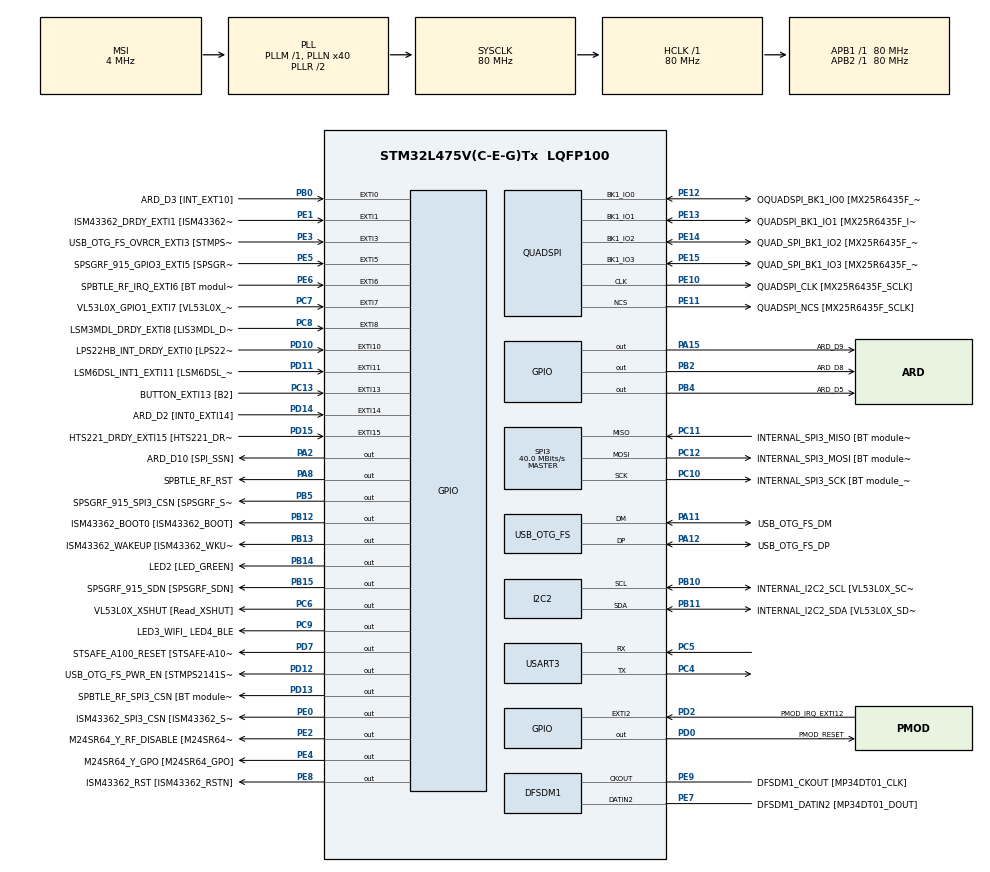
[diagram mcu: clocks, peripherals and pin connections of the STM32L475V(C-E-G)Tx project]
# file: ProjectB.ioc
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Mcu.Family=STM32L4
Mcu.Name=STM32L475V(C-E-G)Tx
Mcu.Package=LQFP100
NVIC.EXTI15_10_IRQn=true\:0\:0\:false\:false\:true\:true\:true\:true
NVIC.EXTI9_5_IRQn=true\:0\:0\:false\:false\:true\:true\:true\:true
NVIC.PriorityGroup=NVIC_PRIORITYGROUP_4
NVIC.USART3_IRQn=true\:0\:0\:false\:false\:true\:true\:true\:true
PA0.GPIO_Label=ARD_D1 [UART4_TX]
PA0.Signal=UART4_TX
PA1.GPIO_Label=ARD_D0 [UART4_RX]
PA1.Signal=UART4_RX
PA10.GPIO_Label=USB_OTG_FS_ID
PA10.Signal=USB_OTG_FS_ID
PA11.GPIO_Label=USB_OTG_FS_DM
PA11.Mode=Device_Only
PA11.Signal=USB_OTG_FS_DM
PA12.GPIO_Label=USB_OTG_FS_DP
PA12.Mode=Device_Only
PA12.Signal=USB_OTG_FS_DP
PA13\ (JTMS-SWDIO).GPIO_Label=SYS_JTMS_SWDIO
PA13\ (JTMS-SWDIO).Mode=Serial_Wire
PA13\ (JTMS-SWDIO).Signal=SYS_JTMS-SWDIO
PA14\ (JTCK-SWCLK).GPIO_Label=SYS_JTCK_SWCLK
PA14\ (JTCK-SWCLK).Mode=Serial_Wire
PA14\ (JTCK-SWCLK).Signal=SYS_JTCK-SWCLK
PA15\ (JTDI).GPIO_Label=ARD_D9
PA15\ (JTDI).Signal=GPIO_Output
PA2.GPIO_Label=ARD_D10 [SPI_SSN]
PA2.Signal=GPIO_Output
PA3.GPIO_Label=ARD_D4
PA3.Signal=S_TIM2_CH4
PA4.GPIO_Label=ARD_D7
PA4.Signal=ADCx_IN9
PA5.GPIO_Label=ARD_D13 [SPI1_SCK]
PA5.Signal=SPI1_SCK
PA6.GPIO_Label=ARD_D12 [SPI1_MISO]
PA6.Signal=SPI1_MISO
PA7.GPIO_Label=ARD_D11 [SPI1_MOSI]
PA7.Signal=SPI1_MOSI
PA8.GPIO_Label=SPBTLE_RF_RST
PA8.Signal=GPIO_Output
PA9.GPIO_Label=USB_OTG_FS_VBUS [STMPS2141STR_OUT]
PA9.Signal=USB_OTG_FS_VBUS
PB0.GPIO_Label=ARD_D3 [INT_EXT10]
PB0.Signal=GPXTI0
PB1.GPIO_Label=ARD_D6 [ADC1_IN6]
PB1.Signal=ADCx_IN16
PB10.GPIO_Label=INTERNAL_I2C2_SCL [VL53L0X_SCL]
PB10.GPIO_Pu=GPIO_PULLUP
PB10.Mode=I2C
PB10.Signal=I2C2_SCL
PB11.GPIO_Label=INTERNAL_I2C2_SDA [VL53L0X_SDA]
PB11.GPIO_Pu=GPIO_PULLUP
PB11.Mode=I2C
PB11.Signal=I2C2_SDA
PB12.GPIO_Label=ISM43362_BOOT0 [ISM43362_BOOT]
PB12.Signal=GPIO_Output
PB13.GPIO_Label=ISM43362_WAKEUP [ISM43362_WKUP]
PB13.Signal=GPIO_Output
PB14.GPIO_Label=LED2 [LED_GREEN]
PB14.Signal=GPIO_Output
PB15.GPIO_Label=SPSGRF_915_SDN [SPSGRF_SDN]
PB15.Signal=GPIO_Output
PB2.GPIO_Label=ARD_D8
PB2.Signal=GPIO_Output
PB3\ (JTDO-TRACESWO).GPIO_Label=SYS_JTD0_SWO
PB3\ (JTDO-TRACESWO).Signal=SYS_JTDO-SWO
PB4\ (NJTRST).GPIO_Label=ARD_D5
PB4\ (NJTRST).Signal=GPIO_Output
PB5.GPIO_Label=SPSGRF_915_SPI3_CSN [SPSGRF_SPI_CS]
PB5.PinState=GPIO_PIN_SET
PB5.Signal=GPIO_Output
PB6.Signal=USART1_TX
PB8.GPIO_Label=ARD_D15 [I2C1_SCL]
PB8.Signal=I2C1_SCL
PB9.GPIO_Label=ARD_D14 [I2C1_SDA]
PB9.Signal=I2C1_SDA
PC0.GPIO_Label=ARD_A5 [ADC]
PC0.Signal=ADCx_IN1
PC1.GPIO_Label=ARD_A4 [ADC]
PC1.Signal=ADCx_IN2
PC10.GPIO_Label=INTERNAL_SPI3_SCK [BT module_SPI_SCLK] [ISM43362_SCK]
PC10.Mode=Full_Duplex_Master
PC10.Signal=SPI3_SCK
PC11.GPIO_Label=INTERNAL_SPI3_MISO [BT module_SPI_MISO] [ISM43362_MISO]
PC11.Mode=Full_Duplex_Master
PC11.Signal=SPI3_MISO
PC12.GPIO_Label=INTERNAL_SPI3_MOSI [BT module_SPI_MOSI] [ISM43362_MOSI]
PC12.Mode=Full_Duplex_Master
PC12.Signal=SPI3_MOSI
PC13.GPIO_Label=BUTTON_EXTI13 [B2]
PC13.GPIO_ModeDefaultEXTI=GPIO_MODE_IT_FALLING
PC13.Signal=GPXTI13
PC14-OSC32_IN\ (PC14).Mode=LSE-External-Oscillator
PC14-OSC32_IN\ (PC14).Signal=RCC_OSC32_IN
PC15-OSC32_OUT\ (PC15).Mode=LSE-External-Oscillator
PC15-OSC32_OUT\ (PC15).Signal=RCC_OSC32_OUT
PC2.GPIO_Label=ARD_A3 [ADC]
PC2.Signal=ADCx_IN3
PC3.GPIO_Label=ARD_A2 [ADC]
PC3.Signal=ADCx_IN4
PC4.Mode=Asynchronous
PC4.Signal=USART3_TX
PC5.Mode=Asynchronous
PC5.Signal=USART3_RX
PC6.GPIO_Label=VL53L0X_XSHUT [Read_XSHUT]
PC6.Signal=GPIO_Output
PC7.GPIO_Label=VL53L0X_GPIO1_EXTI7 [VL53L0X_GPIO1]
PC7.Signal=GPXTI7
PC8.GPIO_Label=LSM3MDL_DRDY_EXTI8 [LIS3MDL_DRDY]
PC8.Signal=GPXTI8
PC9.GPIO_Label=LED3_WIFI_ LED4_BLE
PC9.Signal=GPIO_Output
PD0.GPIO_Label=PMOD_RESET
PD0.Signal=GPIO_Output
PD1.GPIO_Label=PMOD_SPI2_SCK
PD1.Signal=SPI2_SCK
PD10.GPIO_Label=LPS22HB_INT_DRDY_EXTI0 [LPS22HB_INT_DRDY] 
PD10.Signal=GPXTI10
PD11.GPIO_Label=LSM6DSL_INT1_EXTI11 [LSM6DSL_INT1]
PD11.Signal=GPXTI11
PD12.GPIO_Label=USB_OTG_FS_PWR_EN [STMPS2141STR_EN]
PD12.Signal=GPIO_Output
PD13.GPIO_Label=SPBTLE_RF_SPI3_CSN [BT module_SPI_CS]
PD13.PinState=GPIO_PIN_SET
PD13.Signal=GPIO_Output
PD14.GPIO_Label=ARD_D2 [INT0_EXTI14]
PD14.Signal=GPXTI14
PD15.GPIO_Label=HTS221_DRDY_EXTI15 [HTS221_DRDY]
PD15.Signal=GPXTI15
PD2.GPIO_Label=PMOD_IRQ_EXTI12
PD2.Signal=GPXTI2
PD3.GPIO_Label=PMOD_UART2_CTS
PD3.Signal=USART2_CTS
PD4.GPIO_Label=PMOD_UART2_RTS
PD4.Signal=USART2_RTS
PD5.GPIO_Label=PMOD_UART2_TX
PD5.Signal=USART2_TX
PD6.GPIO_Label=PMOD_UART2_RX
PD6.Signal=USART2_RX
PD7.GPIO_Label=STSAFE_A100_RESET [STSAFE-A100_RESET]
PD7.Signal=GPIO_Output
PE0.GPIO_Label=ISM43362_SPI3_CSN [ISM43362_SSN]
PE0.PinState=GPIO_PIN_SET
PE0.Signal=GPIO_Output
PE1.GPIO_Label=ISM43362_DRDY_EXTI1 [ISM43362_DATARDY]
PE1.Signal=GPXTI1
PE10.GPIO_Label=QUADSPI_CLK [MX25R6435F_SCLK]
PE10.Mode=Single Bank
PE10.Signal=QUADSPI_CLK
PE11.GPIO_Label=QUADSPI_NCS [MX25R6435F_SCLK]
PE11.Mode=Single Bank
PE11.Signal=QUADSPI_NCS
PE12.GPIO_Label=OQUADSPI_BK1_IO0 [MX25R6435F_IO0]
PE12.Mode=Single Bank
PE12.Signal=QUADSPI_BK1_IO0
PE13.GPIO_Label=QUADSPI_BK1_IO1 [MX25R6435F_IO1]
PE13.Mode=Single Bank
PE13.Signal=QUADSPI_BK1_IO1
PE14.GPIO_Label=QUAD_SPI_BK1_IO2 [MX25R6435F_IO2]
PE14.Mode=Single Bank
PE14.Signal=QUADSPI_BK1_IO2
PE15.GPIO_Label=QUAD_SPI_BK1_IO3 [MX25R6435F_IO3]
PE15.Mode=Single Bank
PE15.Signal=QUADSPI_BK1_IO3
PE2.GPIO_Label=M24SR64_Y_RF_DISABLE [M24SR64_RFDIS]
PE2.Signal=GPIO_Output
PE3.GPIO_Label=USB_OTG_FS_OVRCR_EXTI3 [STMPS2141STR_FAULT]
PE3.Signal=GPXTI3
PE4.GPIO_Label=M24SR64_Y_GPO [M24SR64_GPO]
PE4.Signal=GPIO_Output
PE5.GPIO_Label=SPSGRF_915_GPIO3_EXTI5 [SPSGRF_GPIO_3]
PE5.Signal=GPXTI5
PE6.GPIO_Label=SPBTLE_RF_IRQ_EXTI6 [BT module_SPI_IRQ]
PE6.Signal=GPXTI6
PE7.GPIO_Label=DFSDM1_DATIN2 [MP34DT01_DOUT]
PE7.Signal=S_DATAIN2DFSDM1
PE8.GPIO_Label=ISM43362_RST [ISM43362_RSTN]
PE8.Signal=GPIO_Output
PE9.GPIO_Label=DFSDM1_CKOUT [MP34DT01_CLK]
PE9.Signal=S_CKOUTDFSDM1
ProjectManager.HeapSize=0x200
ProjectManager.StackSize=0x400
ProjectManager.TargetToolchain=STM32CubeIDE
QUADSPI.ClockPrescaler=2
QUADSPI.FifoThreshold=4
QUADSPI.FlashSize=23
QUADSPI.SampleShifting=QSPI_SAMPLE_SHIFTING_HALFCYCLE
RCC.ADCFreq_Value=48000000
RCC.AHBFreq_Value=80000000
RCC.APB1Freq_Value=80000000
RCC.APB1TimFreq_Value=80000000
RCC.APB2Freq_Value=80000000
RCC.APB2TimFreq_Value=80000000
RCC.CortexFreq_Value=80000000
RCC.HCLKFreq_Value=80000000
RCC.HSE_VALUE=8000000
RCC.HSI_VALUE=16000000
RCC.MSI_VALUE=4000000
RCC.PLLN=40
RCC.PLLSAI1N=24
RCC.SYSCLKFreq_VALUE=80000000
RCC.SYSCLKSource=RCC_SYSCLKSOURCE_PLLCLK
RCC.USBFreq_Value=48000000
RCC.VCOOutputFreq_Value=160000000
SH.ADCx_IN1.0=ADC1_IN1
SH.ADCx_IN16.0=ADC1_IN16
SH.ADCx_IN2.0=ADC1_IN2
SH.ADCx_IN3.0=ADC1_IN3
SH.ADCx_IN4.0=ADC1_IN4
SH.ADCx_IN9.0=ADC1_IN9
SH.S_CKOUTDFSDM1.0=DFSDM1_CKOUT,CKOUT
SH.S_CKOUTDFSDM1.1=DFSDM1_CKOUT,PDM_SPI_Input_from_ch12_and_Internal_Clock
SH.S_DATAIN2DFSDM1.0=DFSDM1_DATIN2,PDM_SPI_Input_from_ch12_and_Internal_Clock
SH.S_TIM2_CH4.0=TIM2_CH4
SPI3.CalculateBaudRate=40.0 MBits/s
SPI3.Direction=SPI_DIRECTION_2LINES
SPI3.Mode=SPI_MODE_MASTER
SPI3.VirtualType=VM_MASTER
USART3.VirtualMode-Asynchronous=VM_ASYNC
USB_OTG_FS.VirtualMode=Device_Only
board=B-L475E-IOT01A1

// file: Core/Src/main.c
/* USER CODE BEGIN Header */
/**
  ******************************************************************************
  * @file           : main.c
  * @brief          : Main program body
  ******************************************************************************
  * @attention
  *
  * Copyright (c) 2026 STMicroelectronics.
  * All rights reserved.
  *
  * This software is licensed under terms that can be found in the LICENSE file
  * in the root directory of this software component.
  * If no LICENSE file comes with this software, it is provided AS-IS.
  *
  ******************************************************************************
  */
/* USER CODE END Header */
#include "main.h"

DFSDM_Channel_HandleTypeDef hdfsdm1_channel1;

I2C_HandleTypeDef hi2c2;

QSPI_HandleTypeDef hqspi;

SPI_HandleTypeDef hspi3;

UART_HandleTypeDef huart3;

PCD_HandleTypeDef hpcd_USB_OTG_FS;

/* USER CODE BEGIN PV */
uint8_t rx_byte; // byte buf
uint8_t line_buf[128];
uint8_t line_len = 0; // num chars in line buf
/* USER CODE END PV */

void SystemClock_Config(void);
static void MX_GPIO_Init(void);
static void MX_DFSDM1_Init(void);
static void MX_I2C2_Init(void);
static void MX_QUADSPI_Init(void);
static void MX_SPI3_Init(void);
static void MX_USART3_UART_Init(void);
static void MX_USB_OTG_FS_PCD_Init(void);

int main(void)
{

  /* MCU Configuration--------------------------------------------------------*/

  /* Reset of all peripherals, Initializes the Flash interface and the Systick. */
  HAL_Init();

  /* Configure the system clock */
  SystemClock_Config();

  /* Initialize all configured peripherals */
  MX_GPIO_Init();
  MX_DFSDM1_Init();
  MX_I2C2_Init();
  MX_QUADSPI_Init();
  MX_SPI3_Init();
  MX_USART3_UART_Init();
  MX_USB_OTG_FS_PCD_Init();
  /* USER CODE BEGIN 2 */
  uint8_t msg[] = "UART ready\r\n";
  HAL_UART_Transmit(&huart3, msg, sizeof(msg) - 1, HAL_MAX_DELAY);
  HAL_UART_Receive_IT(&huart3, &rx_byte, 1); // arm for first byte
  /* USER CODE END 2 */

  /* Infinite loop */
  while (1)
  {

  }
}

void SystemClock_Config(void)
{
  RCC_OscInitTypeDef RCC_OscInitStruct = {0};
  RCC_ClkInitTypeDef RCC_ClkInitStruct = {0};

  /** Configure the main internal regulator output voltage
  */
  if (HAL_PWREx_ControlVoltageScaling(PWR_REGULATOR_VOLTAGE_SCALE1) != HAL_OK)
  {
    Error_Handler();
  }

  /** Configure LSE Drive Capability
  */
  HAL_PWR_EnableBkUpAccess();
  __HAL_RCC_LSEDRIVE_CONFIG(RCC_LSEDRIVE_LOW);

  /** Initializes the RCC Oscillators according to the specified parameters
  * in the RCC_OscInitTypeDef structure.
  */
  RCC_OscInitStruct.OscillatorType = RCC_OSCILLATORTYPE_LSE|RCC_OSCILLATORTYPE_MSI;
  RCC_OscInitStruct.LSEState = RCC_LSE_ON;
  RCC_OscInitStruct.MSIState = RCC_MSI_ON;
  RCC_OscInitStruct.MSICalibrationValue = 0;
  RCC_OscInitStruct.MSIClockRange = RCC_MSIRANGE_6;
  RCC_OscInitStruct.PLL.PLLState = RCC_PLL_ON;
  RCC_OscInitStruct.PLL.PLLSource = RCC_PLLSOURCE_MSI;
  RCC_OscInitStruct.PLL.PLLM = 1;
  RCC_OscInitStruct.PLL.PLLN = 40;
  RCC_OscInitStruct.PLL.PLLP = RCC_PLLP_DIV7;
  RCC_OscInitStruct.PLL.PLLQ = RCC_PLLQ_DIV2;
  RCC_OscInitStruct.PLL.PLLR = RCC_PLLR_DIV2;
  if (HAL_RCC_OscConfig(&RCC_OscInitStruct) != HAL_OK)
  {
    Error_Handler();
  }

  /** Initializes the CPU, AHB and APB buses clocks
  */
  RCC_ClkInitStruct.ClockType = RCC_CLOCKTYPE_HCLK|RCC_CLOCKTYPE_SYSCLK
                              |RCC_CLOCKTYPE_PCLK1|RCC_CLOCKTYPE_PCLK2;
  RCC_ClkInitStruct.SYSCLKSource = RCC_SYSCLKSOURCE_PLLCLK;
  RCC_ClkInitStruct.AHBCLKDivider = RCC_SYSCLK_DIV1;
  RCC_ClkInitStruct.APB1CLKDivider = RCC_HCLK_DIV1;
  RCC_ClkInitStruct.APB2CLKDivider = RCC_HCLK_DIV1;

  if (HAL_RCC_ClockConfig(&RCC_ClkInitStruct, FLASH_LATENCY_4) != HAL_OK)
  {
    Error_Handler();
  }

  /** Enable MSI Auto calibration
  */
  HAL_RCCEx_EnableMSIPLLMode();
}

static void MX_DFSDM1_Init(void)
{

  hdfsdm1_channel1.Instance = DFSDM1_Channel1;
  hdfsdm1_channel1.Init.OutputClock.Activation = ENABLE;
  hdfsdm1_channel1.Init.OutputClock.Selection = DFSDM_CHANNEL_OUTPUT_CLOCK_SYSTEM;
  hdfsdm1_channel1.Init.OutputClock.Divider = 2;
  hdfsdm1_channel1.Init.Input.Multiplexer = DFSDM_CHANNEL_EXTERNAL_INPUTS;
  hdfsdm1_channel1.Init.Input.DataPacking = DFSDM_CHANNEL_STANDARD_MODE;
  hdfsdm1_channel1.Init.Input.Pins = DFSDM_CHANNEL_FOLLOWING_CHANNEL_PINS;
  hdfsdm1_channel1.Init.SerialInterface.Type = DFSDM_CHANNEL_SPI_RISING;
  hdfsdm1_channel1.Init.SerialInterface.SpiClock = DFSDM_CHANNEL_SPI_CLOCK_INTERNAL;
  hdfsdm1_channel1.Init.Awd.FilterOrder = DFSDM_CHANNEL_FASTSINC_ORDER;
  hdfsdm1_channel1.Init.Awd.Oversampling = 1;
  hdfsdm1_channel1.Init.Offset = 0;
  hdfsdm1_channel1.Init.RightBitShift = 0x00;
  if (HAL_DFSDM_ChannelInit(&hdfsdm1_channel1) != HAL_OK)
  {
    Error_Handler();
  }

}

static void MX_I2C2_Init(void)
{

  hi2c2.Instance = I2C2;
  hi2c2.Init.Timing = 0x00000E14;
  hi2c2.Init.OwnAddress1 = 0;
  hi2c2.Init.AddressingMode = I2C_ADDRESSINGMODE_7BIT;
  hi2c2.Init.DualAddressMode = I2C_DUALADDRESS_DISABLE;
  hi2c2.Init.OwnAddress2 = 0;
  hi2c2.Init.OwnAddress2Masks = I2C_OA2_NOMASK;
  hi2c2.Init.GeneralCallMode = I2C_GENERALCALL_DISABLE;
  hi2c2.Init.NoStretchMode = I2C_NOSTRETCH_DISABLE;
  if (HAL_I2C_Init(&hi2c2) != HAL_OK)
  {
    Error_Handler();
  }

  /** Configure Analogue filter
  */
  if (HAL_I2CEx_ConfigAnalogFilter(&hi2c2, I2C_ANALOGFILTER_ENABLE) != HAL_OK)
  {
    Error_Handler();
  }

  /** Configure Digital filter
  */
  if (HAL_I2CEx_ConfigDigitalFilter(&hi2c2, 0) != HAL_OK)
  {
    Error_Handler();
  }

}

static void MX_QUADSPI_Init(void)
{

  /* QUADSPI parameter configuration*/
  hqspi.Instance = QUADSPI;
  hqspi.Init.ClockPrescaler = 2;
  hqspi.Init.FifoThreshold = 4;
  hqspi.Init.SampleShifting = QSPI_SAMPLE_SHIFTING_HALFCYCLE;
  hqspi.Init.FlashSize = 23;
  hqspi.Init.ChipSelectHighTime = QSPI_CS_HIGH_TIME_1_CYCLE;
  hqspi.Init.ClockMode = QSPI_CLOCK_MODE_0;
  if (HAL_QSPI_Init(&hqspi) != HAL_OK)
  {
    Error_Handler();
  }

}

static void MX_SPI3_Init(void)
{

  /* SPI3 parameter configuration*/
  hspi3.Instance = SPI3;
  hspi3.Init.Mode = SPI_MODE_MASTER;
  hspi3.Init.Direction = SPI_DIRECTION_2LINES;
  hspi3.Init.DataSize = SPI_DATASIZE_4BIT;
  hspi3.Init.CLKPolarity = SPI_POLARITY_LOW;
  hspi3.Init.CLKPhase = SPI_PHASE_1EDGE;
  hspi3.Init.NSS = SPI_NSS_SOFT;
  hspi3.Init.BaudRatePrescaler = SPI_BAUDRATEPRESCALER_2;
  hspi3.Init.FirstBit = SPI_FIRSTBIT_MSB;
  hspi3.Init.TIMode = SPI_TIMODE_DISABLE;
  hspi3.Init.CRCCalculation = SPI_CRCCALCULATION_DISABLE;
  hspi3.Init.CRCPolynomial = 7;
  hspi3.Init.CRCLength = SPI_CRC_LENGTH_DATASIZE;
  hspi3.Init.NSSPMode = SPI_NSS_PULSE_ENABLE;
  if (HAL_SPI_Init(&hspi3) != HAL_OK)
  {
    Error_Handler();
  }

}

static void MX_USART3_UART_Init(void)
{

  huart3.Instance = USART3;
  huart3.Init.BaudRate = 115200;
  huart3.Init.WordLength = UART_WORDLENGTH_8B;
  huart3.Init.StopBits = UART_STOPBITS_1;
  huart3.Init.Parity = UART_PARITY_NONE;
  huart3.Init.Mode = UART_MODE_TX_RX;
  huart3.Init.HwFlowCtl = UART_HWCONTROL_NONE;
  huart3.Init.OverSampling = UART_OVERSAMPLING_16;
  huart3.Init.OneBitSampling = UART_ONE_BIT_SAMPLE_DISABLE;
  huart3.AdvancedInit.AdvFeatureInit = UART_ADVFEATURE_NO_INIT;
  if (HAL_UART_Init(&huart3) != HAL_OK)
  {
    Error_Handler();
  }

}

static void MX_USB_OTG_FS_PCD_Init(void)
{

  hpcd_USB_OTG_FS.Instance = USB_OTG_FS;
  hpcd_USB_OTG_FS.Init.dev_endpoints = 6;
  hpcd_USB_OTG_FS.Init.speed = PCD_SPEED_FULL;
  hpcd_USB_OTG_FS.Init.phy_itface = PCD_PHY_EMBEDDED;
  hpcd_USB_OTG_FS.Init.Sof_enable = DISABLE;
  hpcd_USB_OTG_FS.Init.low_power_enable = DISABLE;
  hpcd_USB_OTG_FS.Init.lpm_enable = DISABLE;
  hpcd_USB_OTG_FS.Init.battery_charging_enable = DISABLE;
  hpcd_USB_OTG_FS.Init.use_dedicated_ep1 = DISABLE;
  hpcd_USB_OTG_FS.Init.vbus_sensing_enable = DISABLE;
  if (HAL_PCD_Init(&hpcd_USB_OTG_FS) != HAL_OK)
  {
    Error_Handler();
  }

}

static void MX_GPIO_Init(void)
{
  GPIO_InitTypeDef GPIO_InitStruct = {0};

  /* GPIO Ports Clock Enable */
  __HAL_RCC_GPIOE_CLK_ENABLE();
  __HAL_RCC_GPIOC_CLK_ENABLE();
  __HAL_RCC_GPIOA_CLK_ENABLE();
  __HAL_RCC_GPIOB_CLK_ENABLE();
  __HAL_RCC_GPIOD_CLK_ENABLE();

  /*Configure GPIO pin Output Level */
  HAL_GPIO_WritePin(GPIOE, M24SR64_Y_RF_DISABLE_Pin|M24SR64_Y_GPO_Pin|ISM43362_RST_Pin, GPIO_PIN_RESET);

  /*Configure GPIO pin Output Level */
  HAL_GPIO_WritePin(GPIOA, ARD_D10_Pin|SPBTLE_RF_RST_Pin|ARD_D9_Pin, GPIO_PIN_RESET);

  /*Configure GPIO pin Output Level */
  HAL_GPIO_WritePin(GPIOB, ARD_D8_Pin|ISM43362_BOOT0_Pin|ISM43362_WAKEUP_Pin|LED2_Pin
                          |SPSGRF_915_SDN_Pin|ARD_D5_Pin, GPIO_PIN_RESET);

  /*Configure GPIO pin Output Level */
  HAL_GPIO_WritePin(GPIOD, USB_OTG_FS_PWR_EN_Pin|PMOD_RESET_Pin|STSAFE_A100_RESET_Pin, GPIO_PIN_RESET);

  /*Configure GPIO pin Output Level */
  HAL_GPIO_WritePin(SPBTLE_RF_SPI3_CSN_GPIO_Port, SPBTLE_RF_SPI3_CSN_Pin, GPIO_PIN_SET);

  /*Configure GPIO pin Output Level */
  HAL_GPIO_WritePin(GPIOC, VL53L0X_XSHUT_Pin|LED3_WIFI__LED4_BLE_Pin, GPIO_PIN_RESET);

  /*Configure GPIO pin Output Level */
  HAL_GPIO_WritePin(SPSGRF_915_SPI3_CSN_GPIO_Port, SPSGRF_915_SPI3_CSN_Pin, GPIO_PIN_SET);

  /*Configure GPIO pin Output Level */
  HAL_GPIO_WritePin(ISM43362_SPI3_CSN_GPIO_Port, ISM43362_SPI3_CSN_Pin, GPIO_PIN_SET);

  /*Configure GPIO pins : M24SR64_Y_RF_DISABLE_Pin M24SR64_Y_GPO_Pin ISM43362_RST_Pin ISM43362_SPI3_CSN_Pin */
  GPIO_InitStruct.Pin = M24SR64_Y_RF_DISABLE_Pin|M24SR64_Y_GPO_Pin|ISM43362_RST_Pin|ISM43362_SPI3_CSN_Pin;
  GPIO_InitStruct.Mode = GPIO_MODE_OUTPUT_PP;
  GPIO_InitStruct.Pull = GPIO_NOPULL;
  GPIO_InitStruct.Speed = GPIO_SPEED_FREQ_LOW;
  HAL_GPIO_Init(GPIOE, &GPIO_InitStruct);

  /*Configure GPIO pins : USB_OTG_FS_OVRCR_EXTI3_Pin SPSGRF_915_GPIO3_EXTI5_Pin SPBTLE_RF_IRQ_EXTI6_Pin ISM43362_DRDY_EXTI1_Pin */
  GPIO_InitStruct.Pin = USB_OTG_FS_OVRCR_EXTI3_Pin|SPSGRF_915_GPIO3_EXTI5_Pin|SPBTLE_RF_IRQ_EXTI6_Pin|ISM43362_DRDY_EXTI1_Pin;
  GPIO_InitStruct.Mode = GPIO_MODE_IT_RISING;
  GPIO_InitStruct.Pull = GPIO_NOPULL;
  HAL_GPIO_Init(GPIOE, &GPIO_InitStruct);

  /*Configure GPIO pin : BUTTON_EXTI13_Pin */
  GPIO_InitStruct.Pin = BUTTON_EXTI13_Pin;
  GPIO_InitStruct.Mode = GPIO_MODE_IT_FALLING;
  GPIO_InitStruct.Pull = GPIO_NOPULL;
  HAL_GPIO_Init(BUTTON_EXTI13_GPIO_Port, &GPIO_InitStruct);

  /*Configure GPIO pins : ARD_A5_Pin ARD_A4_Pin ARD_A3_Pin ARD_A2_Pin */
  GPIO_InitStruct.Pin = ARD_A5_Pin|ARD_A4_Pin|ARD_A3_Pin|ARD_A2_Pin;
  GPIO_InitStruct.Mode = GPIO_MODE_ANALOG_ADC_CONTROL;
  GPIO_InitStruct.Pull = GPIO_NOPULL;
  HAL_GPIO_Init(GPIOC, &GPIO_InitStruct);

  /*Configure GPIO pins : ARD_D1_Pin ARD_D0_Pin */
  GPIO_InitStruct.Pin = ARD_D1_Pin|ARD_D0_Pin;
  GPIO_InitStruct.Mode = GPIO_MODE_AF_PP;
  GPIO_InitStruct.Pull = GPIO_NOPULL;
  GPIO_InitStruct.Speed = GPIO_SPEED_FREQ_VERY_HIGH;
  GPIO_InitStruct.Alternate = GPIO_AF8_UART4;
  HAL_GPIO_Init(GPIOA, &GPIO_InitStruct);

  /*Configure GPIO pins : ARD_D10_Pin SPBTLE_RF_RST_Pin ARD_D9_Pin */
  GPIO_InitStruct.Pin = ARD_D10_Pin|SPBTLE_RF_RST_Pin|ARD_D9_Pin;
  GPIO_InitStruct.Mode = GPIO_MODE_OUTPUT_PP;
  GPIO_InitStruct.Pull = GPIO_NOPULL;
  GPIO_InitStruct.Speed = GPIO_SPEED_FREQ_LOW;
  HAL_GPIO_Init(GPIOA, &GPIO_InitStruct);

  /*Configure GPIO pin : ARD_D4_Pin */
  GPIO_InitStruct.Pin = ARD_D4_Pin;
  GPIO_InitStruct.Mode = GPIO_MODE_AF_PP;
  GPIO_InitStruct.Pull = GPIO_NOPULL;
  GPIO_InitStruct.Speed = GPIO_SPEED_FREQ_LOW;
  GPIO_InitStruct.Alternate = GPIO_AF1_TIM2;
  HAL_GPIO_Init(ARD_D4_GPIO_Port, &GPIO_InitStruct);

  /*Configure GPIO pin : ARD_D7_Pin */
  GPIO_InitStruct.Pin = ARD_D7_Pin;
  GPIO_InitStruct.Mode = GPIO_MODE_ANALOG_ADC_CONTROL;
  GPIO_InitStruct.Pull = GPIO_NOPULL;
  HAL_GPIO_Init(ARD_D7_GPIO_Port, &GPIO_InitStruct);

  /*Configure GPIO pins : ARD_D13_Pin ARD_D12_Pin ARD_D11_Pin */
  GPIO_InitStruct.Pin = ARD_D13_Pin|ARD_D12_Pin|ARD_D11_Pin;
  GPIO_InitStruct.Mode = GPIO_MODE_AF_PP;
  GPIO_InitStruct.Pull = GPIO_NOPULL;
  GPIO_InitStruct.Speed = GPIO_SPEED_FREQ_VERY_HIGH;
  GPIO_InitStruct.Alternate = GPIO_AF5_SPI1;
  HAL_GPIO_Init(GPIOA, &GPIO_InitStruct);

  /*Configure GPIO pin : ARD_D3_Pin */
  GPIO_InitStruct.Pin = ARD_D3_Pin;
  GPIO_InitStruct.Mode = GPIO_MODE_IT_RISING;
  GPIO_InitStruct.Pull = GPIO_NOPULL;
  HAL_GPIO_Init(ARD_D3_GPIO_Port, &GPIO_InitStruct);

  /*Configure GPIO pin : ARD_D6_Pin */
  GPIO_InitStruct.Pin = ARD_D6_Pin;
  GPIO_InitStruct.Mode = GPIO_MODE_ANALOG_ADC_CONTROL;
  GPIO_InitStruct.Pull = GPIO_NOPULL;
  HAL_GPIO_Init(ARD_D6_GPIO_Port, &GPIO_InitStruct);

  /*Configure GPIO pins : ARD_D8_Pin ISM43362_BOOT0_Pin ISM43362_WAKEUP_Pin LED2_Pin
                           SPSGRF_915_SDN_Pin ARD_D5_Pin SPSGRF_915_SPI3_CSN_Pin */
  GPIO_InitStruct.Pin = ARD_D8_Pin|ISM43362_BOOT0_Pin|ISM43362_WAKEUP_Pin|LED2_Pin
                          |SPSGRF_915_SDN_Pin|ARD_D5_Pin|SPSGRF_915_SPI3_CSN_Pin;
  GPIO_InitStruct.Mode = GPIO_MODE_OUTPUT_PP;
  GPIO_InitStruct.Pull = GPIO_NOPULL;
  GPIO_InitStruct.Speed = GPIO_SPEED_FREQ_LOW;
  HAL_GPIO_Init(GPIOB, &GPIO_InitStruct);

  /*Configure GPIO pins : LPS22HB_INT_DRDY_EXTI0_Pin LSM6DSL_INT1_EXTI11_Pin ARD_D2_Pin HTS221_DRDY_EXTI15_Pin
                           PMOD_IRQ_EXTI12_Pin */
  GPIO_InitStruct.Pin = LPS22HB_INT_DRDY_EXTI0_Pin|LSM6DSL_INT1_EXTI11_Pin|ARD_D2_Pin|HTS221_DRDY_EXTI15_Pin
                          |PMOD_IRQ_EXTI12_Pin;
  GPIO_InitStruct.Mode = GPIO_MODE_IT_RISING;
  GPIO_InitStruct.Pull = GPIO_NOPULL;
  HAL_GPIO_Init(GPIOD, &GPIO_InitStruct);

  /*Configure GPIO pins : USB_OTG_FS_PWR_EN_Pin SPBTLE_RF_SPI3_CSN_Pin PMOD_RESET_Pin STSAFE_A100_RESET_Pin */
  GPIO_InitStruct.Pin = USB_OTG_FS_PWR_EN_Pin|SPBTLE_RF_SPI3_CSN_Pin|PMOD_RESET_Pin|STSAFE_A100_RESET_Pin;
  GPIO_InitStruct.Mode = GPIO_MODE_OUTPUT_PP;
  GPIO_InitStruct.Pull = GPIO_NOPULL;
  GPIO_InitStruct.Speed = GPIO_SPEED_FREQ_LOW;
  HAL_GPIO_Init(GPIOD, &GPIO_InitStruct);

  /*Configure GPIO pins : VL53L0X_XSHUT_Pin LED3_WIFI__LED4_BLE_Pin */
  GPIO_InitStruct.Pin = VL53L0X_XSHUT_Pin|LED3_WIFI__LED4_BLE_Pin;
  GPIO_InitStruct.Mode = GPIO_MODE_OUTPUT_PP;
  GPIO_InitStruct.Pull = GPIO_NOPULL;
  GPIO_InitStruct.Speed = GPIO_SPEED_FREQ_LOW;
  HAL_GPIO_Init(GPIOC, &GPIO_InitStruct);

  /*Configure GPIO pins : VL53L0X_GPIO1_EXTI7_Pin LSM3MDL_DRDY_EXTI8_Pin */
  GPIO_InitStruct.Pin = VL53L0X_GPIO1_EXTI7_Pin|LSM3MDL_DRDY_EXTI8_Pin;
  GPIO_InitStruct.Mode = GPIO_MODE_IT_RISING;
  GPIO_InitStruct.Pull = GPIO_NOPULL;
  HAL_GPIO_Init(GPIOC, &GPIO_InitStruct);

  /*Configure GPIO pin : PMOD_SPI2_SCK_Pin */
  GPIO_InitStruct.Pin = PMOD_SPI2_SCK_Pin;
  GPIO_InitStruct.Mode = GPIO_MODE_AF_PP;
  GPIO_InitStruct.Pull = GPIO_NOPULL;
  GPIO_InitStruct.Speed = GPIO_SPEED_FREQ_VERY_HIGH;
  GPIO_InitStruct.Alternate = GPIO_AF5_SPI2;
  HAL_GPIO_Init(PMOD_SPI2_SCK_GPIO_Port, &GPIO_InitStruct);

  /*Configure GPIO pins : PMOD_UART2_CTS_Pin PMOD_UART2_RTS_Pin PMOD_UART2_TX_Pin PMOD_UART2_RX_Pin */
  GPIO_InitStruct.Pin = PMOD_UART2_CTS_Pin|PMOD_UART2_RTS_Pin|PMOD_UART2_TX_Pin|PMOD_UART2_RX_Pin;
  GPIO_InitStruct.Mode = GPIO_MODE_AF_PP;
  GPIO_InitStruct.Pull = GPIO_NOPULL;
  GPIO_InitStruct.Speed = GPIO_SPEED_FREQ_VERY_HIGH;
  GPIO_InitStruct.Alternate = GPIO_AF7_USART2;
  HAL_GPIO_Init(GPIOD, &GPIO_InitStruct);

  /*Configure GPIO pin : PB6 */
  GPIO_InitStruct.Pin = GPIO_PIN_6;
  GPIO_InitStruct.Mode = GPIO_MODE_AF_PP;
  GPIO_InitStruct.Pull = GPIO_NOPULL;
  GPIO_InitStruct.Speed = GPIO_SPEED_FREQ_VERY_HIGH;
  GPIO_InitStruct.Alternate = GPIO_AF7_USART1;
  HAL_GPIO_Init(GPIOB, &GPIO_InitStruct);

  /*Configure GPIO pins : ARD_D15_Pin ARD_D14_Pin */
  GPIO_InitStruct.Pin = ARD_D15_Pin|ARD_D14_Pin;
  GPIO_InitStruct.Mode = GPIO_MODE_AF_OD;
  GPIO_InitStruct.Pull = GPIO_NOPULL;
  GPIO_InitStruct.Speed = GPIO_SPEED_FREQ_VERY_HIGH;
  GPIO_InitStruct.Alternate = GPIO_AF4_I2C1;
  HAL_GPIO_Init(GPIOB, &GPIO_InitStruct);

  /* EXTI interrupt init*/
  HAL_NVIC_SetPriority(EXTI9_5_IRQn, 0, 0);
  HAL_NVIC_EnableIRQ(EXTI9_5_IRQn);

  HAL_NVIC_SetPriority(EXTI15_10_IRQn, 0, 0);
  HAL_NVIC_EnableIRQ(EXTI15_10_IRQn);

  /* USER CODE BEGIN MX_GPIO_Init_2 */
  GPIO_InitStruct.Pin = GPIO_PIN_4 | GPIO_PIN_5;
  GPIO_InitStruct.Mode = GPIO_MODE_AF_PP;
  GPIO_InitStruct.Pull = GPIO_NOPULL;
  GPIO_InitStruct.Speed = GPIO_SPEED_FREQ_VERY_HIGH;
  GPIO_InitStruct.Alternate = GPIO_AF7_USART3;
  HAL_GPIO_Init(GPIOC, &GPIO_InitStruct);
  /* USER CODE END MX_GPIO_Init_2 */
}

/* USER CODE BEGIN 4 */
void HAL_UART_RxCpltCallback(UART_HandleTypeDef *huart)
{
	if (huart->Instance == USART3)
	{
		if (rx_byte == '\r') // enter
		{
			line_buf[line_len] = '\0'; // null terminate

			uint8_t newline[] = "\r\n"; // move to new line
			HAL_UART_Transmit(&huart3, newline, 2, HAL_MAX_DELAY);

			HAL_UART_Transmit(&huart3, line_buf, line_len, HAL_MAX_DELAY); // echo
			HAL_UART_Transmit(&huart3, newline, 2, HAL_MAX_DELAY);

			line_len = 0;
		}
		else if (rx_byte == 0x08 || rx_byte == 0x7F) // backspace or delete
		{
			if (line_len > 0)
			{
				line_len--; // remove last char from buf
				uint8_t erase[] = {0x08, 0x20, 0x08}; // byte sequence to erase from terminal
				HAL_UART_Transmit(&huart3, erase, 3, HAL_MAX_DELAY);
			}
		}
		else // normal char
		{
			if (line_len < sizeof(line_buf) - 1)
			{
				line_buf[line_len++] = rx_byte;
				HAL_UART_Transmit(&huart3, &rx_byte, 1, HAL_MAX_DELAY); // echo to terminal
			}
		}

		HAL_UART_Receive_IT(&huart3, &rx_byte, 1); // rearm for next byte
	}
}
/* USER CODE END 4 */

void Error_Handler(void)
{
  __disable_irq();
  while (1)
  {
  }
}
